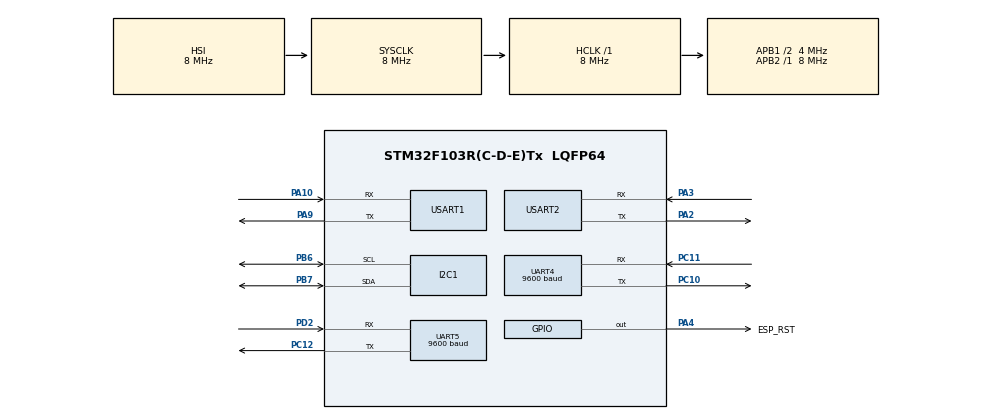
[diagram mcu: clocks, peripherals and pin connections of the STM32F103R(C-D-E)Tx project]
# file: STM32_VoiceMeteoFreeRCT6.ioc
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Dma.Request0=USART2_RX
Dma.USART2_RX.0.Direction=DMA_PERIPH_TO_MEMORY
Dma.USART2_RX.0.Instance=DMA1_Channel6
Dma.USART2_RX.0.MemDataAlignment=DMA_MDATAALIGN_BYTE
Dma.USART2_RX.0.MemInc=DMA_MINC_ENABLE
Dma.USART2_RX.0.Mode=DMA_CIRCULAR
Dma.USART2_RX.0.PeriphDataAlignment=DMA_PDATAALIGN_BYTE
Dma.USART2_RX.0.PeriphInc=DMA_PINC_DISABLE
Dma.USART2_RX.0.Priority=DMA_PRIORITY_MEDIUM
FREERTOS.Events01=DisplayEvents,Dynamic,NULL;CommEvents,Dynamic,NULL
FREERTOS.Queues01=SensorQueue,1,8,1,Dynamic,NULL,NULL;LinkQueue,1,uint16_t,0,Dynamic,NULL,NULL;VoiceQueueHandle,16,uint16_t,0,Dynamic,NULL,NULL
FREERTOS.Tasks01=InitTask,48,128,StartInitTask,Default,NULL,Dynamic,NULL,NULL;SensorTask,25,256,StartSensorTask,Default,NULL,Dynamic,NULL,NULL;DisplayTask,32,256,StartDisplayTask,Default,NULL,Dynamic,NULL,NULL;LinkTask,26,1024,StartLinkTask,Default,NULL,Dynamic,NULL,NULL;VoiceTask,16,256,StartVoiceTask,Default,NULL,Dynamic,NULL,NULL;CommTask,26,1024,StartCommTask,Default,NULL,Dynamic,NULL,NULL
FREERTOS.Timers01=ClockTimer,ClockTimerCallback,osTimerPeriodic,Default,NULL,Dynamic,NULL
FREERTOS.configTOTAL_HEAP_SIZE=15360
I2C1.I2C_Mode=I2C_Fast
Mcu.Family=STM32F1
Mcu.Name=STM32F103R(C-D-E)Tx
Mcu.Package=LQFP64
NVIC.DMA1_Channel6_IRQn=true\:5\:0\:false\:false\:true\:true\:false\:true\:true
NVIC.PriorityGroup=NVIC_PRIORITYGROUP_4
NVIC.TIM4_IRQn=true\:15\:0\:false\:false\:true\:false\:false\:true\:true
NVIC.TimeBase=TIM4_IRQn
NVIC.TimeBaseIP=TIM4
NVIC.UART4_IRQn=true\:5\:0\:false\:false\:true\:true\:true\:true\:true
NVIC.UART5_IRQn=true\:5\:0\:false\:false\:true\:true\:true\:true\:true
NVIC.USART2_IRQn=true\:5\:0\:false\:false\:true\:true\:true\:true\:true
PA10.Mode=Asynchronous
PA10.Signal=USART1_RX
PA13.Mode=Serial_Wire
PA13.Signal=SYS_JTMS-SWDIO
PA14.Mode=Serial_Wire
PA14.Signal=SYS_JTCK-SWCLK
PA2.Mode=Asynchronous
PA2.Signal=USART2_TX
PA3.Mode=Asynchronous
PA3.Signal=USART2_RX
PA4.GPIO_Label=ESP_RST
PA4.GPIO_ModeDefaultOutputPP=GPIO_MODE_OUTPUT_PP
PA4.GPIO_PuPd=GPIO_PULLUP
PA4.PinState=GPIO_PIN_SET
PA4.Signal=GPIO_Output
PA9.Mode=Asynchronous
PA9.Signal=USART1_TX
PB6.Mode=I2C
PB6.Signal=I2C1_SCL
PB7.Mode=I2C
PB7.Signal=I2C1_SDA
PC10.Mode=Asynchronous
PC10.Signal=UART4_TX
PC11.Mode=Asynchronous
PC11.Signal=UART4_RX
PC12.Mode=Asynchronous
PC12.Signal=UART5_TX
PC14-OSC32_IN.Mode=LSE-External-Oscillator
PC14-OSC32_IN.Signal=RCC_OSC32_IN
PC15-OSC32_OUT.Mode=LSE-External-Oscillator
PC15-OSC32_OUT.Signal=RCC_OSC32_OUT
PD0-OSC_IN.Mode=HSE-External-Oscillator
PD0-OSC_IN.Signal=RCC_OSC_IN
PD1-OSC_OUT.Mode=HSE-External-Oscillator
PD1-OSC_OUT.Signal=RCC_OSC_OUT
PD2.Mode=Asynchronous
PD2.Signal=UART5_RX
ProjectManager.HeapSize=0x200
ProjectManager.StackSize=0x400
ProjectManager.TargetToolchain=CMake
RCC.AHBFreq_Value=8000000
RCC.APB1CLKDivider=RCC_HCLK_DIV2
RCC.APB1Freq_Value=4000000
RCC.APB1TimFreq_Value=8000000
RCC.APB2Freq_Value=8000000
RCC.APB2TimFreq_Value=8000000
RCC.HCLKFreq_Value=8000000
RCC.PLLMUL=RCC_PLL_MUL9
RCC.PLLSourceVirtual=RCC_PLLSOURCE_HSE
RCC.RTCClockSelection=RCC_RTCCLKSOURCE_LSE
RCC.SYSCLKFreq_VALUE=8000000
RCC.USBFreq_Value=72000000
RTC.Date=2
RTC.Hours=18
RTC.Minutes=30
RTC.Month=RTC_MONTH_MAY
RTC.Year=26
UART4.BaudRate=9600
UART4.VirtualMode=Asynchronous
UART5.BaudRate=9600
UART5.VirtualMode=Asynchronous
USART1.VirtualMode=VM_ASYNC
USART2.VirtualMode=VM_ASYNC
VP_FREERTOS_VS_CMSIS_V2.Mode=CMSIS_V2
VP_RTC_VS_RTC_Activate.Mode=RTC_Enabled
VP_RTC_VS_RTC_Calendar.Mode=RTC_Calendar
VP_SYS_VS_tim4.Mode=TIM4
board=custom

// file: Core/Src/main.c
/* USER CODE BEGIN Header */
/**
  ******************************************************************************
  * @file           : main.c
  * @brief          : Main program body
  ******************************************************************************
  * @attention
  *
  * Copyright (c) 2026 STMicroelectronics.
  * All rights reserved.
  *
  * This software is licensed under terms that can be found in the LICENSE file
  * in the root directory of this software component.
  * If no LICENSE file comes with this software, it is provided AS-IS.
  *
  ******************************************************************************
  */
/* USER CODE END Header */
#include "main.h"
#include "cmsis_os.h"
#include "dma.h"
#include "i2c.h"
#include "rtc.h"
#include "usart.h"
#include "gpio.h"

void SystemClock_Config(void);
void MX_FREERTOS_Init(void);

int main(void)
{

  /* MCU Configuration--------------------------------------------------------*/

  /* Reset of all peripherals, Initializes the Flash interface and the Systick. */
  HAL_Init();

  /* Configure the system clock */
  SystemClock_Config();

  /* Initialize all configured peripherals */
  MX_GPIO_Init();
  MX_DMA_Init();
  MX_I2C1_Init();
  MX_RTC_Init();
  MX_USART1_UART_Init();
  MX_USART2_UART_Init();
  MX_UART4_Init();
  MX_UART5_Init();

  /* Init scheduler */
  osKernelInitialize();  /* Call init function for freertos objects (in cmsis_os2.c) */
  MX_FREERTOS_Init();

  /* Start scheduler */
  osKernelStart();

  /* We should never get here as control is now taken by the scheduler */

  /* Infinite loop */
  while (1)
  {

  }
}

void SystemClock_Config(void)
{
  RCC_OscInitTypeDef RCC_OscInitStruct = {0};
  RCC_ClkInitTypeDef RCC_ClkInitStruct = {0};
  RCC_PeriphCLKInitTypeDef PeriphClkInit = {0};

  /** Initializes the RCC Oscillators according to the specified parameters
  * in the RCC_OscInitTypeDef structure.
  */
  RCC_OscInitStruct.OscillatorType = RCC_OSCILLATORTYPE_HSI|RCC_OSCILLATORTYPE_LSE;
  RCC_OscInitStruct.LSEState = RCC_LSE_ON;
  RCC_OscInitStruct.HSIState = RCC_HSI_ON;
  RCC_OscInitStruct.HSICalibrationValue = RCC_HSICALIBRATION_DEFAULT;
  RCC_OscInitStruct.PLL.PLLState = RCC_PLL_NONE;
  if (HAL_RCC_OscConfig(&RCC_OscInitStruct) != HAL_OK)
  {
    Error_Handler();
  }

  /** Initializes the CPU, AHB and APB buses clocks
  */
  RCC_ClkInitStruct.ClockType = RCC_CLOCKTYPE_HCLK|RCC_CLOCKTYPE_SYSCLK
                              |RCC_CLOCKTYPE_PCLK1|RCC_CLOCKTYPE_PCLK2;
  RCC_ClkInitStruct.SYSCLKSource = RCC_SYSCLKSOURCE_HSI;
  RCC_ClkInitStruct.AHBCLKDivider = RCC_SYSCLK_DIV1;
  RCC_ClkInitStruct.APB1CLKDivider = RCC_HCLK_DIV2;
  RCC_ClkInitStruct.APB2CLKDivider = RCC_HCLK_DIV1;

  if (HAL_RCC_ClockConfig(&RCC_ClkInitStruct, FLASH_LATENCY_0) != HAL_OK)
  {
    Error_Handler();
  }
  PeriphClkInit.PeriphClockSelection = RCC_PERIPHCLK_RTC;
  PeriphClkInit.RTCClockSelection = RCC_RTCCLKSOURCE_LSE;
  if (HAL_RCCEx_PeriphCLKConfig(&PeriphClkInit) != HAL_OK)
  {
    Error_Handler();
  }
}

void HAL_TIM_PeriodElapsedCallback(TIM_HandleTypeDef *htim)
{
  if (htim->Instance == TIM4)
  {
    HAL_IncTick();
  }
}

void Error_Handler(void)
{
  __disable_irq();
  while (1)
  {
  }
}

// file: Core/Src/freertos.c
/* USER CODE BEGIN Header */
/**
  ******************************************************************************
  * File Name          : freertos.c
  * Description        : Code for freertos applications
  ******************************************************************************
  * @attention
  *
  * Copyright (c) 2026 STMicroelectronics.
  * All rights reserved.
  *
  * This software is licensed under terms that can be found in the LICENSE file
  * in the root directory of this software component.
  * If no LICENSE file comes with this software, it is provided AS-IS.
  *
  ******************************************************************************
  */
/* USER CODE END Header */

#include "FreeRTOS.h"
#include "task.h"
#include "main.h"
#include "cmsis_os.h"

/* USER CODE BEGIN Includes */
#include "oled.h"
#include "font.h"
#include "aht20.h"
#include "esp8266.h"
#include "Comm.h"
#include "Voice.h"
#include <stdio.h>
#include <string.h>
/* USER CODE END Includes */

/* USER CODE BEGIN PTD */
typedef struct {
    float temperature;
    float humidity;
} WeatherData;

#define EVENT_SENSOR_READY   (1 << 0) // 0x01: 传感器数据更新
#define EVENT_CLOCK_TICK     (1 << 1) // 0x02: 时间跳动
#define EVENT_WEATHER_UPDATE (1 << 2) // 0x04: 天气数据更新
/* USER CODE END PTD */

/* USER CODE BEGIN Variables */
extern RTC_TimeTypeDef Time;
extern RTC_DateTypeDef Date;
extern RTC_HandleTypeDef hrtc;
// ESP 初始化状态（0 = 未初始化/未就绪, 1 = 已初始化就绪）
volatile int esp_init_done = 0;
// OneNET 上报前需要先完成天气与网络时间同步
volatile uint8_t g_comm_ready_to_publish = 0;
// 天气/时间/云上传准备阶段标志，避免 CommTask 重复刷等待日志
volatile uint8_t g_comm_upload_preparing = 0;
// 供 CommTask 使用的最近一次有效传感器值（避免队列多消费者导致读不到）
volatile float g_latest_temperature = 0.0f;
volatile float g_latest_humidity = 0.0f;
// IWDG 看门狗喂养计数器
static uint32_t iwdg_feed_counter = 0;
/* USER CODE END Variables */
/* Definitions for InitTask */
osThreadId_t InitTaskHandle;
const osThreadAttr_t InitTask_attributes = {
  .name = "InitTask",
  .stack_size = 128 * 4,
  .priority = (osPriority_t) osPriorityRealtime,
};
/* Definitions for SensorTask */
osThreadId_t SensorTaskHandle;
const osThreadAttr_t SensorTask_attributes = {
  .name = "SensorTask",
  .stack_size = 256 * 4,
  .priority = (osPriority_t) osPriorityNormal1,
};
/* Definitions for DisplayTask */
osThreadId_t DisplayTaskHandle;
const osThreadAttr_t DisplayTask_attributes = {
  .name = "DisplayTask",
  .stack_size = 256 * 4,
  .priority = (osPriority_t) osPriorityAboveNormal,
};
/* Definitions for LinkTask */
osThreadId_t LinkTaskHandle;
const osThreadAttr_t LinkTask_attributes = {
  .name = "LinkTask",
  .stack_size = 1024 * 4,
  .priority = (osPriority_t) osPriorityNormal2,
};
/* Definitions for VoiceTask */
osThreadId_t VoiceTaskHandle;
const osThreadAttr_t VoiceTask_attributes = {
  .name = "VoiceTask",
  .stack_size = 256 * 4,
  .priority = (osPriority_t) osPriorityBelowNormal,
};
/* Definitions for CommTask */
osThreadId_t CommTaskHandle;
const osThreadAttr_t CommTask_attributes = {
  .name = "CommTask",
  .stack_size = 1024 * 4,
  .priority = (osPriority_t) osPriorityNormal2,
};
/* Definitions for SensorQueue */
osMessageQueueId_t SensorQueueHandle;
const osMessageQueueAttr_t SensorQueue_attributes = {
  .name = "SensorQueue"
};
/* Definitions for LinkQueue */
osMessageQueueId_t LinkQueueHandle;
const osMessageQueueAttr_t LinkQueue_attributes = {
  .name = "LinkQueue"
};
/* Definitions for VoiceQueueHandle */
osMessageQueueId_t VoiceQueueHandleHandle;
const osMessageQueueAttr_t VoiceQueueHandle_attributes = {
  .name = "VoiceQueueHandle"
};
/* Definitions for ClockTimer */
osTimerId_t ClockTimerHandle;
const osTimerAttr_t ClockTimer_attributes = {
  .name = "ClockTimer"
};
/* Definitions for DisplayEvents */
osEventFlagsId_t DisplayEventsHandle;
const osEventFlagsAttr_t DisplayEvents_attributes = {
  .name = "DisplayEvents"
};
/* Definitions for CommEvents */
osEventFlagsId_t CommEventsHandle;
const osEventFlagsAttr_t CommEvents_attributes = {
  .name = "CommEvents"
};

void StartInitTask(void *argument);
void StartSensorTask(void *argument);
void StartDisplayTask(void *argument);
void StartLinkTask(void *argument);
void StartVoiceTask(void *argument);
void StartCommTask(void *argument);
void ClockTimerCallback(void *argument);

void MX_FREERTOS_Init(void); /* (MISRA C 2004 rule 8.1) */

void MX_FREERTOS_Init(void) {

  /* USER CODE BEGIN RTOS_MUTEX */
  /* add mutexes, ... */
  ESP8266_InitLock();
  /* USER CODE END RTOS_MUTEX */

  /* Create the timer(s) */
  /* creation of ClockTimer */
  ClockTimerHandle = osTimerNew(ClockTimerCallback, osTimerPeriodic, NULL, &ClockTimer_attributes);

  /* Create the queue(s) */
  /* creation of SensorQueue */
  SensorQueueHandle = osMessageQueueNew (1, 8, &SensorQueue_attributes);

  /* creation of LinkQueue */
  LinkQueueHandle = osMessageQueueNew (1, sizeof(uint16_t), &LinkQueue_attributes);

  /* creation of VoiceQueueHandle */
  VoiceQueueHandleHandle = osMessageQueueNew (16, sizeof(uint16_t), &VoiceQueueHandle_attributes);

  /* Create the thread(s) */
  /* creation of InitTask */
  InitTaskHandle = osThreadNew(StartInitTask, NULL, &InitTask_attributes);

  /* creation of SensorTask */
  SensorTaskHandle = osThreadNew(StartSensorTask, NULL, &SensorTask_attributes);

  /* creation of DisplayTask */
  DisplayTaskHandle = osThreadNew(StartDisplayTask, NULL, &DisplayTask_attributes);

  /* creation of LinkTask */
  LinkTaskHandle = osThreadNew(StartLinkTask, NULL, &LinkTask_attributes);

  /* creation of VoiceTask */
  VoiceTaskHandle = osThreadNew(StartVoiceTask, NULL, &VoiceTask_attributes);

  /* creation of CommTask */
  CommTaskHandle = osThreadNew(StartCommTask, NULL, &CommTask_attributes);

  /* Create the event(s) */
  /* creation of DisplayEvents */
  DisplayEventsHandle = osEventFlagsNew(&DisplayEvents_attributes);

  /* creation of CommEvents */
  CommEventsHandle = osEventFlagsNew(&CommEvents_attributes);

}

void StartInitTask(void *argument)
{
  /* USER CODE BEGIN StartInitTask */
  /* 初始化任务：系统启动时执行 */

  // 挂起其他任务
  vTaskSuspend(SensorTaskHandle);
  vTaskSuspend(DisplayTaskHandle);
  vTaskSuspend(LinkTaskHandle);

  // 初始化外设
  osDelay(100);
  OLED_Init();
  AHT20_Init();
  Voice_Init();

  // 启动实时时钟定时器
  osTimerStart(ClockTimerHandle, 1000U);

  // 启动显示、传感器和 LinkTask，后者负责从 AT 检测到 WiFi 连接的完整流程
  vTaskResume(SensorTaskHandle);
  vTaskResume(DisplayTaskHandle);
  vTaskResume(LinkTaskHandle);

  // 给语音模块一点启动稳定时间，再播放开机音频
  osDelay(500);
  Voice_PlayStartup();

  // 打印复位来源，便于诊断是否发生了 MCU 重启/看门狗
  {
    uint32_t reset_flags = RCC->CSR;
    DebugPrintf("[INIT] Reset flags CSR=0x%08lX\r\n", (unsigned long)reset_flags);
    if (reset_flags & RCC_CSR_PORRSTF) DebugPrintf("[INIT] Power-on reset\r\n");
    if (reset_flags & RCC_CSR_PINRSTF) DebugPrintf("[INIT] Pin reset (NRST)\r\n");
    if (reset_flags & RCC_CSR_SFTRSTF) DebugPrintf("[INIT] Software reset\r\n");
    if (reset_flags & RCC_CSR_IWDGRSTF) DebugPrintf("[INIT] Independent watchdog reset\r\n");
    if (reset_flags & RCC_CSR_WWDGRSTF) DebugPrintf("[INIT] Window watchdog reset\r\n");
    if (reset_flags & RCC_CSR_LPWRRSTF) DebugPrintf("[INIT] Low-power reset\r\n");
    // 清除复位标志
    __HAL_RCC_CLEAR_RESET_FLAGS();
  }

  // ESP 初始化将在 LinkTask 中异步进行，确保显示和传感器先启动
  DebugPrintf("\r\n\n[INIT] Deferring ESP8266 initialization to LinkTask\r\n");

  // 初始化任务完成，删除自己
  vTaskDelete(NULL);

  /* USER CODE END StartInitTask */
}

void StartSensorTask(void *argument)
{
  /* USER CODE BEGIN StartSensorTask */
  /* Infinite loop */
  WeatherData sensor_data;
  for(;;)
  {
    AHT20_Measure();
    osDelay(100);

    sensor_data.temperature = AHT20_Temperature();
    sensor_data.humidity = AHT20_Humidity();
    g_latest_temperature = sensor_data.temperature;
    g_latest_humidity = sensor_data.humidity;
    Voice_UpdateSensorData(sensor_data.temperature, sensor_data.humidity);

    osMessageQueuePut(SensorQueueHandle, &sensor_data, 0, 0);
    osEventFlagsSet(DisplayEventsHandle, EVENT_SENSOR_READY);

    osDelay(1900);
  }
  /* USER CODE END StartSensorTask */
}

void StartDisplayTask(void *argument)
{
  /* USER CODE BEGIN StartDisplayTask */
  /* 显示任务：刷新 OLED 屏幕，显示时间、温湿度和网络天气 */

  WeatherData display_data = {0};
  char message[32];
  static uint8_t last_saved_day = 0;

  for(;;)
  {
    // 等待事件：传感器数据更新、时间跳动、或天气数据更新
    uint32_t flags = osEventFlagsWait(DisplayEventsHandle,
                             EVENT_SENSOR_READY | EVENT_CLOCK_TICK | EVENT_WEATHER_UPDATE,
                             osFlagsWaitAny, osWaitForever);

    // 如果是传感器发来的数据，去队列里获取最新数据
    if (flags & EVENT_SENSOR_READY) {
        osMessageQueueGet(SensorQueueHandle, &display_data, NULL, 0);
    }

    // 如果是天气更新，日期改变时保存到 RTC 备份寄存器
    if (Date.Date != last_saved_day)
    {
        HAL_RTCEx_BKUPWrite(&hrtc, RTC_BKP_DR2, Date.Year);
        HAL_RTCEx_BKUPWrite(&hrtc, RTC_BKP_DR3, Date.Month);
        HAL_RTCEx_BKUPWrite(&hrtc, RTC_BKP_DR4, Date.Date);
        last_saved_day = Date.Date;
    }

    // 无论哪个事件触发，都统一重新绘制一帧
    OLED_NewFrame();

    // ========== 顶部：左上角显示网络天气/WiFi状态图标 ==========
    if (g_wifi_connected == 0) {
      OLED_DrawImage(0, 0, &NoWIFIImg, OLED_COLOR_NORMAL);
    } else {
      const Image *weather_icon = GetWeatherIcon(g_weather.weather_text);
      if (weather_icon != NULL) {
        OLED_DrawImage(0, 0, weather_icon, OLED_COLOR_NORMAL);
      }
    }

    if (g_alarm_icon_visible) {
      OLED_DrawImage(112, 0, &AlarmImg, OLED_COLOR_NORMAL);
    }

    // ========== 中上部：显示日期 ==========
    sprintf(message, "%04d-%02d-%02d", 2000 + Date.Year, Date.Month, Date.Date);
    OLED_PrintString(24, 0, message, &font16x16, OLED_COLOR_NORMAL);

    // ========== 中部：显示时间 ==========
    sprintf(message, "%02d:%02d:%02d", Time.Hours, Time.Minutes, Time.Seconds);
    OLED_PrintASCIIString(15, 17, message, &afont24x12, OLED_COLOR_NORMAL);

    // ========== 下部：显示温湿度（本地传感器） ==========
    sprintf(message, "%.1f℃", display_data.temperature);
    OLED_DrawImage(0, 48, &tempImg, OLED_COLOR_NORMAL);
    OLED_PrintString(16, 48, message, &font16x16, OLED_COLOR_NORMAL);

    sprintf(message, "%.1f", display_data.humidity);
    OLED_DrawImage(64, 48, &humiImg, OLED_COLOR_NORMAL);
    OLED_PrintString(80, 48, message, &font16x16, OLED_COLOR_NORMAL);
    OLED_DrawImage(112, 48, &％Img, OLED_COLOR_NORMAL);

    OLED_ShowFrame();
  }
  /* USER CODE END StartDisplayTask */
}

void StartLinkTask(void *argument)
{
  /* USER CODE BEGIN StartLinkTask */
  /* 网络链接任务：每 10 分钟获取一次网络天气 */

  // 等待 LinkTask 被启动后再开始运行
  vTaskDelay(pdMS_TO_TICKS(1000));

  // 周期：10 分钟 = 600000 毫秒
  const uint32_t WEATHER_UPDATE_PERIOD_MS = 600000;  // 10 分钟

  uint32_t last_update_time = 0;
  uint32_t current_time = 0;

  // 在 LinkTask 中异步进行 ESP 初始化，避免阻塞显示和传感器任务
  if (!esp_init_done) {
    int tries = 3;
    while (tries-- > 0 && !esp_init_done) {
      DebugPrintf("[LinkTask] Attempting ESP8266_Init(), tries left=%d\r\n", tries);
      if (ESP8266_Init() == 0) {
        esp_init_done = 1;
        DebugPrintf("[LinkTask] ESP8266 initialized\r\n");
        break;
      }
      DebugPrintf("[LinkTask] ESP init attempt failed, retrying after delay...\r\n");
      osDelay(pdMS_TO_TICKS(2000));
    }
    if (!esp_init_done) {
      DebugPrintf("[LinkTask] ESP initialization deferred, will retry later\r\n");
    }
  }

  for(;;)
  {
    // 获取当前任务时间
    current_time = xTaskGetTickCount();

    // 如果 ESP 尚未初始化或 WiFi 未连接，需要重新启动初始化/重连流程
    if (!esp_init_done || !g_wifi_connected) {
      if (ESP8266_Init() == 0) {
        esp_init_done = 1;
        DebugPrintf("[LinkTask] ESP8266 initialized and WiFi ready\r\n");
      } else {
        DebugPrintf("[LinkTask] ESP8266 still not ready, retry after delay\r\n");
        osDelay(pdMS_TO_TICKS(60000));
        continue;
      }
    }

    if ((current_time - last_update_time) >= pdMS_TO_TICKS(WEATHER_UPDATE_PERIOD_MS) ||
        last_update_time == 0)  // 第一次执行
    {
      DebugPrintf("\r\n[LinkTask] Starting weather update...\r\n");
      g_comm_upload_preparing = 1;
      int weather_ok = (Get_Weather() == 0);
      if (weather_ok) {
        DebugPrintf("[LinkTask] Weather updated: %s\r\n", g_weather.weather_text);
        osEventFlagsSet(DisplayEventsHandle, EVENT_WEATHER_UPDATE);
      } else {
        DebugPrintf("[LinkTask] Weather update failed, will retry next cycle\r\n");
      }

      int time_ok = 0;
      if (g_wifi_connected) {
        if (ESP8266_GetTime() == 0) {
          DebugPrintf("[LinkTask] Network time synchronized\r\n");
          time_ok = 1;
        } else {
          DebugPrintf("[LinkTask] Network time sync failed\r\n");
        }
      }

      if (weather_ok && time_ok) {
        DebugPrintf("[LinkTask] Weather/time ready, enabling cloud upload\r\n");
        osDelay(pdMS_TO_TICKS(1000));
        if (ESP8266_ResetAndReinit() == 0) {
          g_comm_ready_to_publish = 1;
        } else {
          DebugPrintf("[LinkTask] ESP8266 reset/reinit failed, defer cloud upload\r\n");
        }
      }

      g_comm_upload_preparing = 0;

      last_update_time = current_time;
    }

    // 每秒检查一次是否需要更新
    osDelay(1000);
  }
  /* USER CODE END StartLinkTask */
}

void StartVoiceTask(void *argument)
{
  /* USER CODE BEGIN StartVoiceTask */
  Voice_TaskLoop();
  /* USER CODE END StartVoiceTask */
}

void StartCommTask(void *argument)
{
  /* USER CODE BEGIN StartCommTask */
  Comm_TaskLoop();
  /* USER CODE END StartCommTask */
}

/* ClockTimerCallback function */
void ClockTimerCallback(void *argument)
{
  /* USER CODE BEGIN ClockTimerCallback */
  // 1. 读取硬件 RTC (先 Time 后 Date)
  HAL_RTC_GetTime(&hrtc, &Time, RTC_FORMAT_BIN);
  HAL_RTC_GetDate(&hrtc, &Date, RTC_FORMAT_BIN);

  // 2. 发送事件标志给 DisplayTask
  osEventFlagsSet(DisplayEventsHandle, EVENT_CLOCK_TICK);
  /* USER CODE END ClockTimerCallback */
}

/* USER CODE BEGIN Application */

/**
 * @brief FreeRTOS Idle Hook - 保持空闲
 *
 * 看门狗喂养已移至 LinkTask 的显式调用中，避免 Idle Hook 中的寄存器操作导致异常。
 * 这是更安全的做法，确保看门狗刷新与主任务流程同步。
 */
void vApplicationIdleHook(void)
{
    // 空闲钩子此处不做任何操作
    // IWDG 喂养在 LinkTask 中显式调用
    (void)iwdg_feed_counter;  // 避免警告
}

/* USER CODE END Application */
